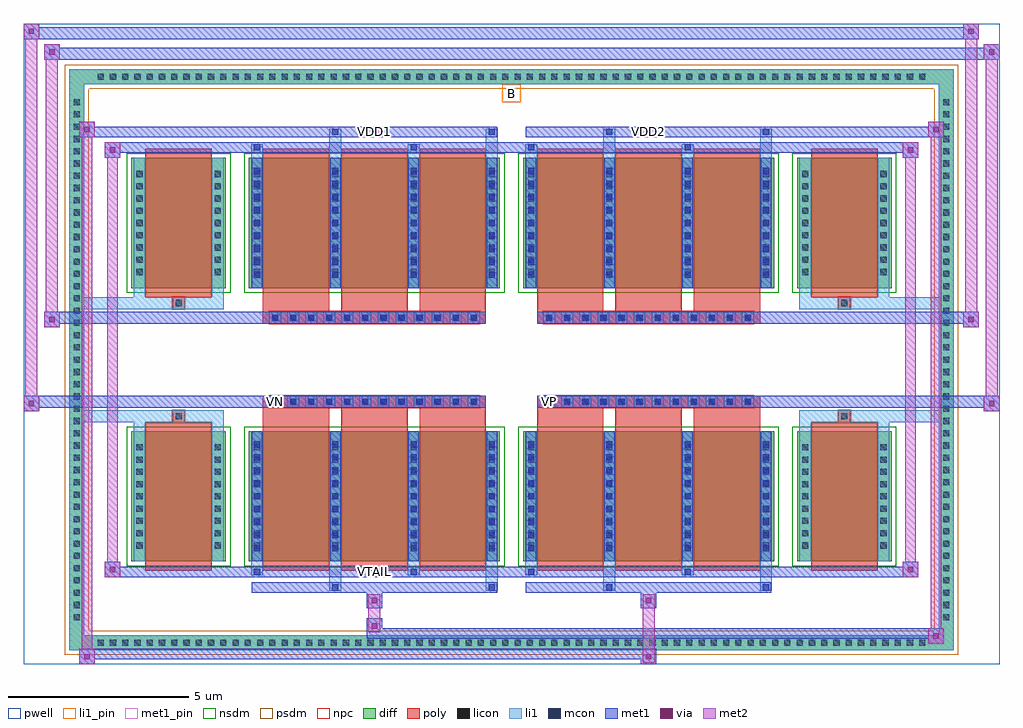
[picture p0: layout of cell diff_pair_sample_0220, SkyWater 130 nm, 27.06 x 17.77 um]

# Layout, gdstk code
import gdstk
lib = gdstk.Library(unit=1e-6, precision=5e-09)
def R(c, l, rs):  # rectangles x0, y0, x1, y1
    for r in rs: c.add(gdstk.rectangle(r[:2], r[2:], *l))
def A(c, l, x, y, w, h, nx, ny, dx, dy):  # array of equal rectangles
    R(c, l, [(x+i*dx, y+j*dy, x+i*dx+w, y+j*dy+h) for i in range(nx) for j in range(ny)])
def P(c, l, *ps):  # polygons
    for p in ps: c.add(gdstk.Polygon(p, *l))
pwell = (64, 44)
diff = (65, 20)
poly = (66, 20)
licon = (66, 44)
li1_pin = (67, 16)
li1 = (67, 20)
mcon = (67, 44)
met1_pin = (68, 16)
met1 = (68, 20)
via = (68, 44)
met2 = (69, 20)
nsdm = (93, 44)
psdm = (94, 20)
npc = (95, 20)

diff_pair_sample_0220 = lib.new_cell('diff_pair_sample_0220')
R(diff_pair_sample_0220, pwell, [(-13.53,-8.45,13.53,9.32), (-10.85,-6.64,-0.01,-0.8), (0.01,-6.64,10.85,-0.8), (-10.85,0.8,-0.01,6.64), (0.01,0.8,10.85,6.64)])
A(diff_pair_sample_0220, diff, -11.595, -8.05, 0.41, 0.41, 68, 2, 0.34, 15.69)
A(diff_pair_sample_0220, diff, -12.26, -7.345, 0.41, 0.41, 1, 43, 0, 0.34)
A(diff_pair_sample_0220, diff, 11.85, -7.345, 0.41, 0.41, 1, 43, 0, 0.34)
R(diff_pair_sample_0220, diff, [(-11.595,-8.05,11.595,-7.64), (-12.26,-7.345,-11.85,7.345), (11.85,-7.345,12.26,7.345), (-10.54,-5.595,-7.92,-1.985), (-7.28,-5.595,-0.32,-1.985), (0.32,-5.595,7.28,-1.985), (7.92,-5.595,10.54,-1.985), (-10.54,1.985,-7.92,5.595), (-7.28,1.985,-0.32,5.595), (0.32,1.985,7.28,5.595), (7.92,1.985,10.54,5.595), (-11.595,7.64,11.595,8.05)])
P(diff_pair_sample_0220, diff, [(12.26,8.05),(-12.26,8.05),(-12.26,-7.64),(-11.85,-7.64),(-11.85,7.64),(11.85,7.64),(11.85,-7.64),(-11.85,-7.64),(-12.26,-7.64),(-12.26,-8.05),(12.26,-8.05)])
A(diff_pair_sample_0220, poly, -6.89, -5.845, 1.84, 4.11, 3, 2, 2.17, 7.58)
A(diff_pair_sample_0220, poly, 0.71, -5.845, 1.84, 4.11, 3, 2, 2.17, 7.58)
A(diff_pair_sample_0220, poly, -6.89, -1.735, 1.84, 0.405, 3, 2, 2.17, 3.065)
A(diff_pair_sample_0220, poly, 0.71, -1.735, 1.84, 0.405, 3, 2, 2.17, 3.065)
A(diff_pair_sample_0220, poly, -6.715, -1.33, 0.33, 0.33, 12, 2, 0.5, 2.33)
A(diff_pair_sample_0220, poly, 0.885, -1.33, 0.33, 0.33, 12, 2, 0.5, 2.33)
R(diff_pair_sample_0220, poly, [(-10.15,-5.845,-8.31,-1.735), (8.31,-5.845,10.15,-1.735), (-9.395,-1.735,-9.065,-1.405), (-9.395,-1.735,-9.065,-1.405), (9.065,-1.735,9.395,-1.405), (9.065,-1.735,9.395,-1.405), (-6.89,-1.33,-0.71,-1), (0.71,-1.33,6.89,-1), (-6.89,1,-0.71,1.33), (0.71,1,6.89,1.33), (-9.395,1.405,-9.065,1.735), (-9.395,1.405,-9.065,1.735), (9.065,1.405,9.395,1.735), (9.065,1.405,9.395,1.735), (-10.15,1.735,-8.31,5.845), (8.31,1.735,10.15,5.845)])
A(diff_pair_sample_0220, licon, -11.475, -7.93, 0.17, 0.17, 68, 2, 0.34, 15.69)
A(diff_pair_sample_0220, licon, -12.14, -7.225, 0.17, 0.17, 1, 43, 0, 0.34)
A(diff_pair_sample_0220, licon, 11.97, -7.225, 0.17, 0.17, 1, 43, 0, 0.34)
A(diff_pair_sample_0220, licon, -10.4, -5.235, 0.17, 0.17, 1, 9, 0, 0.34)
A(diff_pair_sample_0220, licon, -8.23, -5.235, 0.17, 0.17, 1, 9, 0, 0.34)
A(diff_pair_sample_0220, licon, -7.14, -5.235, 0.17, 0.17, 4, 9, 2.17, 0.34)
A(diff_pair_sample_0220, licon, 0.46, -5.235, 0.17, 0.17, 4, 9, 2.17, 0.34)
A(diff_pair_sample_0220, licon, 8.06, -5.235, 0.17, 0.17, 1, 9, 0, 0.34)
A(diff_pair_sample_0220, licon, 10.23, -5.235, 0.17, 0.17, 1, 9, 0, 0.34)
A(diff_pair_sample_0220, licon, -6.635, -1.25, 0.17, 0.17, 12, 2, 0.5, 2.33)
A(diff_pair_sample_0220, licon, 0.965, -1.25, 0.17, 0.17, 12, 2, 0.5, 2.33)
A(diff_pair_sample_0220, licon, -10.4, 2.345, 0.17, 0.17, 1, 9, 0, 0.34)
A(diff_pair_sample_0220, licon, -8.23, 2.345, 0.17, 0.17, 1, 9, 0, 0.34)
A(diff_pair_sample_0220, licon, -7.14, 2.345, 0.17, 0.17, 4, 9, 2.17, 0.34)
A(diff_pair_sample_0220, licon, 0.46, 2.345, 0.17, 0.17, 4, 9, 2.17, 0.34)
A(diff_pair_sample_0220, licon, 8.06, 2.345, 0.17, 0.17, 1, 9, 0, 0.34)
A(diff_pair_sample_0220, licon, 10.23, 2.345, 0.17, 0.17, 1, 9, 0, 0.34)
R(diff_pair_sample_0220, licon, [(-9.315,-1.655,-9.145,-1.485), (9.145,-1.655,9.315,-1.485), (-9.315,1.485,-9.145,1.655), (9.145,1.485,9.315,1.655)])
R(diff_pair_sample_0220, li1_pin, [(-0.25,7.14,0.25,7.64)])
A(diff_pair_sample_0220, li1, -11.555, -8.01, 0.33, 0.33, 68, 2, 0.34, 15.69)
A(diff_pair_sample_0220, li1, -12.22, -7.305, 0.33, 0.33, 1, 43, 0, 0.34)
A(diff_pair_sample_0220, li1, 11.89, -7.305, 0.33, 0.33, 1, 43, 0, 0.34)
A(diff_pair_sample_0220, li1, -7.22, -5.595, 0.33, 3.61, 4, 2, 2.17, 7.58)
A(diff_pair_sample_0220, li1, 0.38, -5.595, 0.33, 3.61, 4, 2, 2.17, 7.58)
A(diff_pair_sample_0220, li1, -10.48, -5.315, 0.33, 0.33, 1, 9, 0, 0.34)
A(diff_pair_sample_0220, li1, -8.31, -5.315, 0.33, 0.33, 1, 9, 0, 0.34)
A(diff_pair_sample_0220, li1, -7.22, -5.315, 0.33, 0.33, 4, 9, 2.17, 0.34)
A(diff_pair_sample_0220, li1, -7.14, -5.315, 0.17, 0.17, 4, 9, 2.17, 0.36)
A(diff_pair_sample_0220, li1, -7.14, -5.315, 0.17, 3.05, 4, 2, 2.17, 7.58)
A(diff_pair_sample_0220, li1, 0.38, -5.315, 0.33, 0.33, 4, 9, 2.17, 0.34)
A(diff_pair_sample_0220, li1, 0.46, -5.315, 0.17, 0.17, 4, 9, 2.17, 0.36)
A(diff_pair_sample_0220, li1, 0.46, -5.315, 0.17, 3.05, 4, 2, 2.17, 7.58)
A(diff_pair_sample_0220, li1, 7.98, -5.315, 0.33, 0.33, 1, 9, 0, 0.34)
A(diff_pair_sample_0220, li1, 10.15, -5.315, 0.33, 0.33, 1, 9, 0, 0.34)
A(diff_pair_sample_0220, li1, -6.715, -1.33, 0.33, 0.33, 12, 2, 0.5, 2.33)
A(diff_pair_sample_0220, li1, 0.885, -1.33, 0.33, 0.33, 12, 2, 0.5, 2.33)
A(diff_pair_sample_0220, li1, -10.48, 2.265, 0.33, 0.33, 1, 9, 0, 0.34)
A(diff_pair_sample_0220, li1, -8.31, 2.265, 0.33, 0.33, 1, 9, 0, 0.34)
A(diff_pair_sample_0220, li1, -7.22, 2.265, 0.33, 0.33, 4, 9, 2.17, 0.34)
A(diff_pair_sample_0220, li1, -7.14, 2.265, 0.17, 0.17, 4, 9, 2.17, 0.36)
A(diff_pair_sample_0220, li1, 0.38, 2.265, 0.33, 0.33, 4, 9, 2.17, 0.34)
A(diff_pair_sample_0220, li1, 0.46, 2.265, 0.17, 0.17, 4, 9, 2.17, 0.36)
A(diff_pair_sample_0220, li1, 7.98, 2.265, 0.33, 0.33, 1, 9, 0, 0.34)
A(diff_pair_sample_0220, li1, 10.15, 2.265, 0.33, 0.33, 1, 9, 0, 0.34)
R(diff_pair_sample_0220, li1, [(-12.26,-8.05,-11.85,-7.64), (-12.26,-8.05,-11.85,-7.64), (-11.85,-8.05,11.85,-7.64), (11.85,-8.05,12.26,-7.64), (11.85,-8.05,12.26,-7.64), (-12.26,-7.64,-11.85,7.64), (11.85,-7.64,12.26,7.64), (-5.05,-6.4,-4.72,-5.595), (-4.97,-6.4,-4.8,-6.23), (-0.71,-6.4,-0.38,-5.595), (-0.63,-6.4,-0.46,-6.23), (2.55,-6.4,2.88,-5.595), (2.63,-6.4,2.8,-6.23), (6.89,-6.4,7.22,-5.595), (6.97,-6.4,7.14,-6.23), (-7.22,-5.97,-6.89,-5.595), (-7.14,-5.97,-6.97,-5.8), (-2.88,-5.97,-2.55,-5.595), (-2.8,-5.97,-2.63,-5.8), (0.38,-5.97,0.71,-5.595), (0.46,-5.97,0.63,-5.8), (4.72,-5.97,5.05,-5.595), (4.8,-5.97,4.97,-5.8), (-10.48,-5.595,-10.15,-1.985), (-8.31,-5.595,-7.98,-1.985), (7.98,-5.595,8.31,-1.985), (10.15,-5.595,10.48,-1.985), (-10.48,-1.985,-10.15,-1.405), (-8.31,-1.985,-7.98,-1.405), (7.98,-1.985,8.31,-1.405), (10.15,-1.985,10.48,-1.405), (-12.26,-1.735,-9.395,-1.405), (-10.48,-1.735,-9.395,-1.405), (-9.395,-1.735,-9.065,-1.405), (-9.065,-1.735,-7.98,-1.405), (7.98,-1.735,9.065,-1.405), (9.065,-1.735,9.395,-1.405), (9.065,-1.735,12.26,-1.405), (9.395,-1.735,10.48,-1.405), (-12.26,1.405,-9.395,1.735), (-10.48,1.405,-9.395,1.735), (-10.48,1.405,-10.15,1.985), (-9.395,1.405,-9.065,1.735), (-9.065,1.405,-7.98,1.735), (-8.31,1.405,-7.98,1.985), (7.98,1.405,9.065,1.735), (7.98,1.405,8.31,1.985), (9.065,1.405,9.395,1.735), (9.065,1.405,12.26,1.735), (9.395,1.405,10.48,1.735), (10.15,1.405,10.48,1.985), (-10.48,1.985,-10.15,5.595), (-8.31,1.985,-7.98,5.595), (7.98,1.985,8.31,5.595), (10.15,1.985,10.48,5.595), (-7.22,5.595,-6.89,5.97), (-5.05,5.595,-4.72,6.4), (-2.88,5.595,-2.55,5.97), (-0.71,5.595,-0.38,6.4), (0.38,5.595,0.71,5.97), (2.55,5.595,2.88,6.4), (4.72,5.595,5.05,5.97), (6.89,5.595,7.22,6.4), (-7.14,5.8,-6.97,5.97), (-2.8,5.8,-2.63,5.97), (0.46,5.8,0.63,5.97), (4.8,5.8,4.97,5.97), (-4.97,6.23,-4.8,6.4), (-0.63,6.23,-0.46,6.4), (2.63,6.23,2.8,6.4), (6.97,6.23,7.14,6.4), (-12.26,7.64,-11.85,8.05), (-12.26,7.64,-11.85,8.05), (-11.85,7.64,11.85,8.05), (11.85,7.64,12.26,8.05), (11.85,7.64,12.26,8.05)])
A(diff_pair_sample_0220, mcon, -7.14, -5.315, 0.17, 0.17, 4, 9, 2.17, 0.36)
A(diff_pair_sample_0220, mcon, 0.46, -5.315, 0.17, 0.17, 4, 9, 2.17, 0.36)
A(diff_pair_sample_0220, mcon, -6.635, -1.25, 0.17, 0.17, 12, 2, 0.5, 2.33)
A(diff_pair_sample_0220, mcon, 0.965, -1.25, 0.17, 0.17, 12, 2, 0.5, 2.33)
A(diff_pair_sample_0220, mcon, -7.14, 2.265, 0.17, 0.17, 4, 9, 2.17, 0.36)
A(diff_pair_sample_0220, mcon, 0.46, 2.265, 0.17, 0.17, 4, 9, 2.17, 0.36)
R(diff_pair_sample_0220, mcon, [(-4.97,-6.4,-4.8,-6.23), (-0.63,-6.4,-0.46,-6.23), (2.63,-6.4,2.8,-6.23), (6.97,-6.4,7.14,-6.23), (-7.14,-5.97,-6.97,-5.8), (-2.8,-5.97,-2.63,-5.8), (0.46,-5.97,0.63,-5.8), (4.8,-5.97,4.97,-5.8), (-7.14,5.8,-6.97,5.97), (-2.8,5.8,-2.63,5.97), (0.46,5.8,0.63,5.97), (4.8,5.8,4.97,5.97), (-4.97,6.23,-4.8,6.4), (-0.63,6.23,-0.46,6.4), (2.63,6.23,2.8,6.4), (6.97,6.23,7.14,6.4)])
R(diff_pair_sample_0220, met1_pin, [(-3.935,-6.01,-3.665,-5.74), (-6.685,-1.29,-6.415,-1.02), (0.915,-1.29,1.185,-1.02), (-3.935,6.19,-3.665,6.46), (3.665,6.19,3.935,6.46)])
A(diff_pair_sample_0220, met1, -7.2, -5.595, 0.29, 3.61, 4, 2, 2.17, 7.58)
A(diff_pair_sample_0220, met1, 0.4, -5.595, 0.29, 3.61, 4, 2, 2.17, 7.58)
A(diff_pair_sample_0220, met1, -7.2, -5.375, 0.29, 0.29, 4, 9, 2.17, 0.36)
A(diff_pair_sample_0220, met1, 0.4, -5.375, 0.29, 0.29, 4, 9, 2.17, 0.36)
A(diff_pair_sample_0220, met1, -6.695, -1.31, 0.29, 0.29, 12, 2, 0.5, 2.33)
A(diff_pair_sample_0220, met1, 0.905, -1.31, 0.29, 0.29, 12, 2, 0.5, 2.33)
A(diff_pair_sample_0220, met1, -7.2, 2.205, 0.29, 0.29, 4, 9, 2.17, 0.36)
A(diff_pair_sample_0220, met1, 0.4, 2.205, 0.29, 0.29, 4, 9, 2.17, 0.36)
R(diff_pair_sample_0220, met1, [(-11.99,-8.45,-11.56,-8.02), (3.585,-8.45,4.015,-8.02), (-11.99,-8.31,4.015,-8.02), (11.56,-7.88,11.99,-7.45), (-4.015,-7.74,11.99,-7.45), (-4.015,-7.6,-3.585,-7.17), (-4.015,-6.89,-3.585,-6.46), (3.585,-6.89,4.015,-6.46), (-7.2,-6.46,-0.4,-6.17), (-5.03,-6.46,-4.74,-6.17), (-0.69,-6.46,-0.4,-6.17), (0.4,-6.46,7.2,-6.17), (2.57,-6.46,2.86,-6.17), (6.91,-6.46,7.2,-6.17), (-11.28,-6.03,-10.85,-5.6), (-11.28,-6.03,-7.2,-5.74), (-7.2,-6.03,-6.91,-5.74), (-7.2,-6.03,-0.4,-5.74), (-2.86,-6.03,-2.57,-5.74), (-0.4,-6.03,0.4,-5.74), (0.4,-6.03,0.69,-5.74), (0.4,-6.03,7.2,-5.74), (4.74,-6.03,5.03,-5.74), (7.2,-6.03,11.28,-5.74), (10.85,-6.03,11.28,-5.6), (-13.53,-1.43,-13.1,-1), (13.1,-1.43,13.53,-1), (-13.53,-1.33,-0.71,-1), (-6.89,-1.33,-0.71,-1), (0.71,-1.33,6.89,-1), (0.71,-1.33,13.53,-1), (-12.96,0.9,-12.53,1.33), (12.53,0.9,12.96,1.33), (-12.96,1,-6.89,1.33), (-6.89,1,-0.71,1.33), (0.71,1,6.89,1.33), (6.89,1,12.96,1.33), (-11.28,5.6,-10.85,6.03), (10.85,5.6,11.28,6.03), (-11.28,5.74,-7.2,6.03), (-7.2,5.74,-6.91,6.03), (-7.2,5.74,-0.4,6.03), (-2.86,5.74,-2.57,6.03), (-0.4,5.74,0.4,6.03), (0.4,5.74,0.69,6.03), (0.4,5.74,7.2,6.03), (4.74,5.74,5.03,6.03), (7.2,5.74,11.28,6.03), (-11.99,6.17,-11.56,6.6), (-11.99,6.17,-7.2,6.46), (-7.2,6.17,-0.4,6.46), (-5.03,6.17,-4.74,6.46), (-0.69,6.17,-0.4,6.46), (0.4,6.17,7.2,6.46), (2.57,6.17,2.86,6.46), (6.91,6.17,7.2,6.46), (7.2,6.17,11.99,6.46), (11.56,6.17,11.99,6.6), (-12.96,8.32,-12.53,8.75), (-12.96,8.32,-10.85,8.65), (-10.85,8.32,10.85,8.65), (10.85,8.32,13.53,8.65), (13.1,8.32,13.53,8.75), (-13.53,8.89,-13.1,9.32), (-13.53,8.89,-10.85,9.22), (-10.85,8.89,10.85,9.22), (10.85,8.89,12.96,9.22), (12.53,8.89,12.96,9.32)])
R(diff_pair_sample_0220, via, [(-11.85,-8.31,-11.7,-8.16), (3.725,-8.31,3.875,-8.16), (11.7,-7.74,11.85,-7.59), (-3.875,-7.46,-3.725,-7.31), (-3.875,-6.75,-3.725,-6.6), (3.725,-6.75,3.875,-6.6), (-11.14,-5.89,-10.99,-5.74), (10.99,-5.89,11.14,-5.74), (-13.39,-1.29,-13.24,-1.14), (13.24,-1.29,13.39,-1.14), (-12.82,1.04,-12.67,1.19), (12.67,1.04,12.82,1.19), (-11.14,5.74,-10.99,5.89), (10.99,5.74,11.14,5.89), (-11.85,6.31,-11.7,6.46), (11.7,6.31,11.85,6.46), (-12.82,8.46,-12.67,8.61), (13.24,8.46,13.39,8.61), (-13.39,9.03,-13.24,9.18), (12.67,9.03,12.82,9.18)])
R(diff_pair_sample_0220, met2, [(-11.99,-8.45,-11.56,-8.02), (-11.92,-8.45,-11.63,6.6), (-11.63,-8.45,-11.56,-8.02), (-11.94,-8.4,-11.61,-8.07), (3.635,-8.4,3.965,-8.07), (3.635,-8.07,3.965,-6.84), (11.56,-7.88,11.99,-7.45), (11.63,-7.88,11.92,6.6), (11.92,-7.88,11.99,-7.45), (11.61,-7.83,11.94,-7.5), (-3.965,-7.55,-3.635,-7.22), (-3.965,-7.22,-3.635,-6.84), (-3.965,-6.84,-3.635,-6.51), (3.635,-6.84,3.965,-6.51), (-11.28,-6.03,-10.85,-5.6), (-11.21,-6.03,-10.92,6.03), (-10.92,-6.03,-10.85,-5.6), (10.85,-6.03,11.28,-5.6), (10.92,-6.03,11.21,6.03), (11.21,-6.03,11.28,-5.6), (-11.23,-5.98,-10.9,-5.65), (10.9,-5.98,11.23,-5.65), (-13.53,-1.43,-13.1,-1), (-13.48,-1.43,-13.15,9.32), (-13.15,-1.43,-13.1,-1), (13.1,-1.43,13.53,-1), (13.15,-1.43,13.48,8.75), (13.48,-1.43,13.53,-1), (-13.48,-1.38,-13.15,-1.05), (13.15,-1.38,13.48,-1.05), (-12.96,0.9,-12.53,1.33), (-12.91,0.9,-12.58,8.75), (-12.58,0.9,-12.53,1.33), (12.53,0.9,12.96,1.33), (12.58,0.9,12.91,9.32), (12.91,0.9,12.96,1.33), (-12.91,0.95,-12.58,1.28), (12.58,0.95,12.91,1.28), (-11.28,5.6,-10.85,6.03), (-10.92,5.6,-10.85,6.03), (10.85,5.6,11.28,6.03), (11.21,5.6,11.28,6.03), (-11.23,5.65,-10.9,5.98), (10.9,5.65,11.23,5.98), (-11.99,6.17,-11.56,6.6), (-11.63,6.17,-11.56,6.6), (11.56,6.17,11.99,6.6), (11.92,6.17,11.99,6.6), (-11.94,6.22,-11.61,6.55), (11.61,6.22,11.94,6.55), (-12.96,8.32,-12.53,8.75), (-12.58,8.32,-12.53,8.75), (13.1,8.32,13.53,8.75), (13.48,8.32,13.53,8.75), (-12.91,8.37,-12.58,8.7), (13.15,8.37,13.48,8.7), (-13.53,8.89,-13.1,9.32), (-13.15,8.89,-13.1,9.32), (12.53,8.89,12.96,9.32), (12.91,8.89,12.96,9.32), (-13.48,8.94,-13.15,9.27), (12.58,8.94,12.91,9.27)])
R(diff_pair_sample_0220, nsdm, [(-10.67,-5.725,-7.79,-1.855), (-7.41,-5.725,-0.19,-1.855), (0.19,-5.725,7.41,-1.855), (7.79,-5.725,10.67,-1.855), (-10.67,1.855,-7.79,5.725), (-7.41,1.855,-0.19,5.725), (0.19,1.855,7.41,5.725), (7.79,1.855,10.67,5.725)])
P(diff_pair_sample_0220, psdm, [(12.39,8.18),(-12.39,8.18),(-12.39,-7.51),(-11.72,-7.51),(-11.72,7.51),(11.72,7.51),(11.72,-7.51),(-11.72,-7.51),(-12.39,-7.51),(-12.39,-8.18),(12.39,-8.18)])
A(diff_pair_sample_0220, npc, -6.735, -1.35, 0.37, 0.37, 12, 2, 0.5, 2.33)
A(diff_pair_sample_0220, npc, 0.865, -1.35, 0.37, 0.37, 12, 2, 0.5, 2.33)
R(diff_pair_sample_0220, npc, [(-9.415,-1.755,-9.045,-1.385), (9.045,-1.755,9.415,-1.385), (-6.735,-1.35,-5.865,-0.98), (-6.735,-1.35,-5.865,-0.98), (-6.235,-1.35,-5.365,-0.98), (-6.235,-1.35,-5.365,-0.98), (-5.735,-1.35,-4.865,-0.98), (-5.735,-1.35,-4.865,-0.98), (-5.235,-1.35,-4.365,-0.98), (-5.235,-1.35,-4.365,-0.98), (-4.735,-1.35,-3.865,-0.98), (-4.735,-1.35,-3.865,-0.98), (-4.235,-1.35,-3.365,-0.98), (-4.235,-1.35,-3.365,-0.98), (-3.735,-1.35,-2.865,-0.98), (-3.735,-1.35,-2.865,-0.98), (-3.235,-1.35,-2.365,-0.98), (-3.235,-1.35,-2.365,-0.98), (-2.735,-1.35,-1.865,-0.98), (-2.735,-1.35,-1.865,-0.98), (-2.235,-1.35,-1.365,-0.98), (-2.235,-1.35,-1.365,-0.98), (-1.735,-1.35,-0.865,-0.98), (-1.735,-1.35,-0.865,-0.98), (0.865,-1.35,1.735,-0.98), (0.865,-1.35,1.735,-0.98), (1.365,-1.35,2.235,-0.98), (1.365,-1.35,2.235,-0.98), (1.865,-1.35,2.735,-0.98), (1.865,-1.35,2.735,-0.98), (2.365,-1.35,3.235,-0.98), (2.365,-1.35,3.235,-0.98), (2.865,-1.35,3.735,-0.98), (2.865,-1.35,3.735,-0.98), (3.365,-1.35,4.235,-0.98), (3.365,-1.35,4.235,-0.98), (3.865,-1.35,4.735,-0.98), (3.865,-1.35,4.735,-0.98), (4.365,-1.35,5.235,-0.98), (4.365,-1.35,5.235,-0.98), (4.865,-1.35,5.735,-0.98), (4.865,-1.35,5.735,-0.98), (5.365,-1.35,6.235,-0.98), (5.365,-1.35,6.235,-0.98), (5.865,-1.35,6.735,-0.98), (5.865,-1.35,6.735,-0.98), (-6.735,0.98,-5.865,1.35), (-6.735,0.98,-5.865,1.35), (-6.235,0.98,-5.365,1.35), (-6.235,0.98,-5.365,1.35), (-5.735,0.98,-4.865,1.35), (-5.735,0.98,-4.865,1.35), (-5.235,0.98,-4.365,1.35), (-5.235,0.98,-4.365,1.35), (-4.735,0.98,-3.865,1.35), (-4.735,0.98,-3.865,1.35), (-4.235,0.98,-3.365,1.35), (-4.235,0.98,-3.365,1.35), (-3.735,0.98,-2.865,1.35), (-3.735,0.98,-2.865,1.35), (-3.235,0.98,-2.365,1.35), (-3.235,0.98,-2.365,1.35), (-2.735,0.98,-1.865,1.35), (-2.735,0.98,-1.865,1.35), (-2.235,0.98,-1.365,1.35), (-2.235,0.98,-1.365,1.35), (-1.735,0.98,-0.865,1.35), (-1.735,0.98,-0.865,1.35), (0.865,0.98,1.735,1.35), (0.865,0.98,1.735,1.35), (1.365,0.98,2.235,1.35), (1.365,0.98,2.235,1.35), (1.865,0.98,2.735,1.35), (1.865,0.98,2.735,1.35), (2.365,0.98,3.235,1.35), (2.365,0.98,3.235,1.35), (2.865,0.98,3.735,1.35), (2.865,0.98,3.735,1.35), (3.365,0.98,4.235,1.35), (3.365,0.98,4.235,1.35), (3.865,0.98,4.735,1.35), (3.865,0.98,4.735,1.35), (4.365,0.98,5.235,1.35), (4.365,0.98,5.235,1.35), (4.865,0.98,5.735,1.35), (4.865,0.98,5.735,1.35), (5.365,0.98,6.235,1.35), (5.365,0.98,6.235,1.35), (5.865,0.98,6.735,1.35), (5.865,0.98,6.735,1.35), (-9.415,1.385,-9.045,1.755), (9.045,1.385,9.415,1.755)])
diff_pair_sample_0220.add(gdstk.Label('VTAIL', (-3.8,-5.875), layer=68, texttype=5))
diff_pair_sample_0220.add(gdstk.Label('VN', (-6.55,-1.155), layer=68, texttype=5))
diff_pair_sample_0220.add(gdstk.Label('VP', (1.05,-1.155), layer=68, texttype=5))
diff_pair_sample_0220.add(gdstk.Label('B', (0,7.39), layer=67, texttype=5))
diff_pair_sample_0220.add(gdstk.Label('VDD2', (3.8,6.325), layer=68, texttype=5))
diff_pair_sample_0220.add(gdstk.Label('VDD1', (-3.8,6.325), layer=68, texttype=5))

lib.write_gds('diff_pair_sample_0220.gds')
